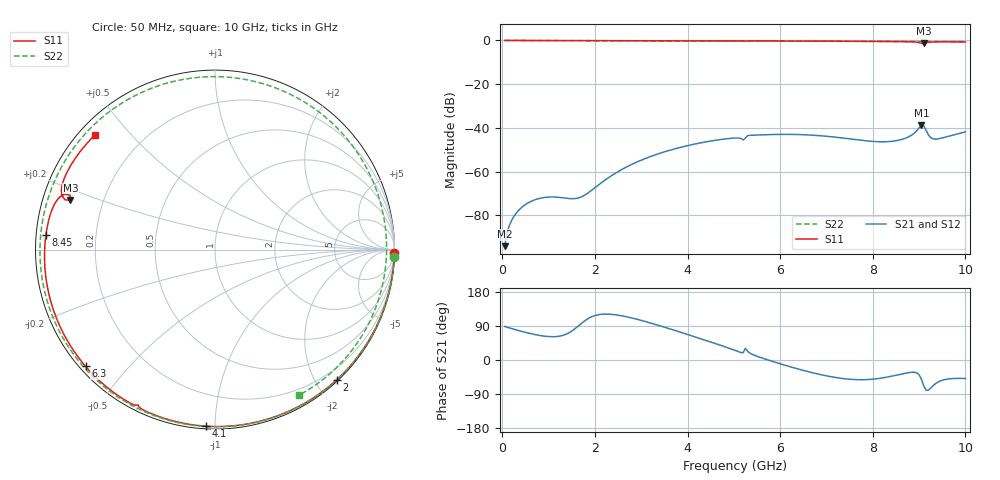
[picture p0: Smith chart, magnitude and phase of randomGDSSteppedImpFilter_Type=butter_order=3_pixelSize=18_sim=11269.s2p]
! freq	dB(S11)	phase(S11)	dB(S12)	phase(S12)
!  dB(S21)	phase(S21)	dB(S22)	phase(S22)
!S-par simulation data
#  GHz  S  DB  R 50
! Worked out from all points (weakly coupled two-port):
!   200 points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, 50 MHz to 10 GHz, reference 50 ohm
!   highest |S21| = -38.90 dB at 9.05 GHz (marker M1); lowest = -94.1 dB at 50 MHz (marker M2)
!   lowest |S11| = -1.4 dB at 9.1 GHz (marker M3), VSWR 12.49, Z = 4.11 + j8.28 ohm
!   |S11| at or under -10 dB: nowhere
!   |S22| runs from -0.6 to 0.0 dB; largest |S21 - S12| = 0
!   S11 on the Smith chart (normalised r, x): 50 MHz: 0, -95; 2 GHz: 0.02, -2.30; 4.1 GHz: 0.01, -0.95; 6.3 GHz: 0.02, -0.38; 8.45 GHz: 0.03, +0.04; 10 GHz: 0.05, +0.40
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0.05  -0.00 -1.2  -94.14 88.6  -94.14 88.6  -0.00 -2.4
0.25  -0.01 -6.0  -80.51 81.2  -80.51 81.2  -0.02 -12.0
0.5  -0.02 -11.9  -75.09 72.9  -75.09 72.9  -0.03 -23.9
0.8  -0.02 -19.1  -72.31 64.9  -72.31 64.9  -0.05 -38.1
1.3  -0.04 -30.8  -71.98 64.8  -71.98 64.8  -0.08 -61.2
1.75  -0.05 -41.2  -71.14 100.6  -71.14 100.6  -0.10 -81.5
2  -0.06 -46.9  -67.40 117.3  -67.40 117.3  -0.11 -92.5
2.65  -0.08 -61.5  -58.26 114.9  -58.26 114.9  -0.14 -120.4
3.4  -0.10 -77.9  -51.65 90.4  -51.65 90.4  -0.18 -151.9
4.1  -0.13 -92.8  -47.66 63.4  -47.66 63.4  -0.22 178.7
5.05  -0.18 -112.6  -44.62 24.4  -44.62 24.4  -0.27 137.9
5.7  -0.21 -125.6  -43.13 1.5  -43.13 1.5  -0.30 109.0
6.3  -0.26 -137.9  -43.00 -20.8  -43.00 -20.8  -0.33 81.9
6.7  -0.29 -146.2  -43.35 -33.7  -43.35 -33.7  -0.34 63.9
7.55  -0.37 -164.3  -45.16 -51.2  -45.16 -51.2  -0.36 26.9
8.35  -0.47 177.5  -46.27 -44.2  -46.27 -44.2  -0.40 -5.0
8.45  -0.49 175.0  -46.05 -41.7  -46.05 -41.7  -0.40 -8.7
8.8  -0.59 165.9  -43.83 -32.9  -43.83 -32.9  -0.43 -21.4
9.05  -1.28 159.4  -38.90 -50.5  -38.90 -50.5  -0.45 -30.1
9.1  -1.39 161.1  -39.11 -68.0  -39.11 -68.0  -0.46 -31.8
9.3  -0.68 156.9  -45.03 -68.1  -45.03 -68.1  -0.48 -38.4
10  -0.68 136.4  -41.84 -48.9  -41.84 -48.9  -0.57 -60.0
